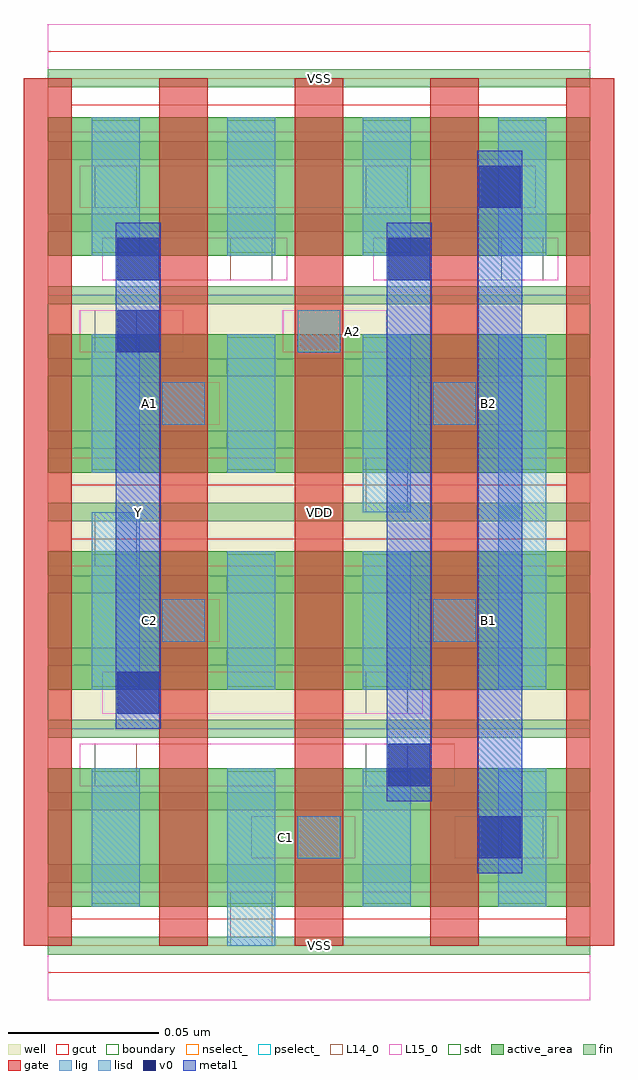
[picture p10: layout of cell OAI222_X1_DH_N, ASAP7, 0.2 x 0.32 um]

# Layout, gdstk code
import gdstk
lib = gdstk.Library(unit=1e-6, precision=2.5e-10)
def R(c, l, rs):  # rectangles x0, y0, x1, y1
    for r in rs: c.add(gdstk.rectangle(r[:2], r[2:], *l))
def A(c, l, x, y, w, h, nx, ny, dx, dy):  # array of equal rectangles
    R(c, l, [(x+i*dx, y+j*dy, x+i*dx+w, y+j*dy+h) for i in range(nx) for j in range(ny)])
def P(c, l, *ps):  # polygons
    for p in ps: c.add(gdstk.Polygon(p, *l))
well = (1, 0)
fin = (2, 0)
gate = (7, 0)
gcut = (10, 0)
active_area = (11, 0)
nselect_ = (12, 0)
pselect_ = (13, 0)
L14_0 = (14, 0)
L15_0 = (15, 0)
lig = (16, 0)
lisd = (17, 0)
v0 = (18, 0)
metal1 = (19, 0)
sdt = (88, 0)
boundary = (100, 0)

oai222_x1_dh_n = lib.new_cell('OAI222_X1_DH_N')
R(oai222_x1_dh_n, well, [(0,0.072,0.18,0.144), (0,0.144,0.18,0.216)])
A(oai222_x1_dh_n, fin, 0, -0.003, 0.18, 0.006, 1, 13, 0, 0.024)
A(oai222_x1_dh_n, gate, -0.008, 0, 0.016, 0.288, 5, 1, 0.045, 0)
P(oai222_x1_dh_n, gcut, [(0,-0.009),(0,0),(-0.008,0),(-0.008,0.135),(0.008,0.135),(0.008,0.009),(0.172,0.009),(0.172,0.135),(-0.008,0.135),(-0.008,0.279),(0.008,0.279),(0.008,0.153),(0.172,0.153),(0.172,0.279),(-0.008,0.279),(-0.008,0.288),(0,0.288),(0,0.297),(0.18,0.297),(0.18,0.288),(0.188,0.288),(0.188,0),(0.18,0),(0.18,-0.009)])
A(oai222_x1_dh_n, active_area, 0, 0.013, 0.18, 0.046, 1, 4, 0, 0.072)
R(oai222_x1_dh_n, nselect_, [(0,0,0.18,0.072), (0,0.216,0.18,0.288)])
R(oai222_x1_dh_n, pselect_, [(0,0.072,0.18,0.144), (0,0.144,0.18,0.216)])
R(oai222_x1_dh_n, L14_0, [(0.0605,0,0.0745,0.018), (0.083,0.029,0.097,0.043), (0.1505,0.029,0.1645,0.043), (0.0155,0.053,0.0295,0.067), (0.1055,0.053,0.1195,0.067), (0.1055,0.077,0.1195,0.091), (0.038,0.101,0.052,0.115), (0.128,0.101,0.142,0.115), (0.0155,0.126,0.0295,0.144), (0.1055,0.144,0.1195,0.162), (0.038,0.173,0.052,0.187), (0.128,0.173,0.142,0.187), (0.0155,0.197,0.0295,0.211), (0.083,0.197,0.097,0.211), (0.0605,0.221,0.0745,0.235), (0.1505,0.221,0.1645,0.235), (0.0155,0.245,0.0295,0.259), (0.1055,0.245,0.1195,0.259)])
A(oai222_x1_dh_n, L15_0, 0, -0.018, 0.18, 0.036, 1, 3, 0, 0.144)
R(oai222_x1_dh_n, L15_0, [(0.0675,0.029,0.102,0.043), (0.135,0.029,0.1695,0.043), (0.0105,0.053,0.135,0.067), (0.018,0.077,0.1245,0.091), (0.0225,0.101,0.057,0.115), (0.123,0.101,0.1575,0.115), (0.0225,0.173,0.057,0.187), (0.123,0.173,0.1575,0.187), (0.0105,0.197,0.045,0.211), (0.078,0.197,0.1125,0.211), (0.018,0.221,0.0795,0.235), (0.108,0.221,0.1695,0.235), (0.0105,0.245,0.162,0.259)])
R(oai222_x1_dh_n, lig, [(0.083,0.029,0.097,0.043), (0.038,0.101,0.052,0.115), (0.128,0.101,0.142,0.115), (0.038,0.173,0.052,0.187), (0.128,0.173,0.142,0.187), (0.083,0.197,0.097,0.211)])
A(oai222_x1_dh_n, lisd, 0.0145, 0.229, 0.016, 0.046, 4, 1, 0.045, 0)
R(oai222_x1_dh_n, lisd, [(0.0595,0,0.0755,0.059), (0.0145,0.013,0.0305,0.059), (0.1045,0.013,0.1205,0.059), (0.1495,0.013,0.1655,0.059), (0.0145,0.085,0.0305,0.144), (0.0595,0.085,0.0755,0.131), (0.1045,0.085,0.1205,0.131), (0.1495,0.085,0.1655,0.203), (0.1045,0.144,0.1205,0.203), (0.0145,0.157,0.0305,0.203), (0.0595,0.157,0.0755,0.203)])
R(oai222_x1_dh_n, v0, [(0.143,0.029,0.157,0.043), (0.113,0.053,0.127,0.067), (0.023,0.077,0.037,0.091), (0.023,0.197,0.037,0.211), (0.023,0.221,0.037,0.235), (0.113,0.221,0.127,0.235), (0.143,0.245,0.157,0.259)])
R(oai222_x1_dh_n, metal1, [(0.1425,0.024,0.1575,0.264), (0.1125,0.048,0.1275,0.24), (0.0225,0.072,0.0375,0.24)])
A(oai222_x1_dh_n, sdt, 0.0145, 0.014, 0.016, 0.044, 4, 4, 0.045, 0.072)
R(oai222_x1_dh_n, boundary, [(0,0,0.18,0.288)])
oai222_x1_dh_n.add(gdstk.Label('VSS', (0.09,0), layer=15, texttype=251))
oai222_x1_dh_n.add(gdstk.Label('VDD', (0.09,0.144), layer=15, texttype=251))
oai222_x1_dh_n.add(gdstk.Label('VDD', (0.09,0.144), layer=15, texttype=251))
oai222_x1_dh_n.add(gdstk.Label('VSS', (0.09,0.288), layer=15, texttype=251))
oai222_x1_dh_n.add(gdstk.Label('C2', (0.0338,0.108), layer=15, texttype=251))
oai222_x1_dh_n.add(gdstk.Label('VSS', (0.09,0), layer=15, texttype=251))
oai222_x1_dh_n.add(gdstk.Label('VDD', (0.09,0.144), layer=15, texttype=251))
oai222_x1_dh_n.add(gdstk.Label('VDD', (0.09,0.144), layer=15, texttype=251))
oai222_x1_dh_n.add(gdstk.Label('VSS', (0.09,0.288), layer=15, texttype=251))
oai222_x1_dh_n.add(gdstk.Label('C1', (0.0788,0.036), layer=15, texttype=251))
oai222_x1_dh_n.add(gdstk.Label('VSS', (0.09,0), layer=15, texttype=251))
oai222_x1_dh_n.add(gdstk.Label('VDD', (0.09,0.144), layer=15, texttype=251))
oai222_x1_dh_n.add(gdstk.Label('VDD', (0.09,0.144), layer=15, texttype=251))
oai222_x1_dh_n.add(gdstk.Label('VSS', (0.09,0.288), layer=15, texttype=251))
oai222_x1_dh_n.add(gdstk.Label('A2', (0.1013,0.204), layer=15, texttype=251))
oai222_x1_dh_n.add(gdstk.Label('VSS', (0.09,0), layer=15, texttype=251))
oai222_x1_dh_n.add(gdstk.Label('VDD', (0.09,0.144), layer=15, texttype=251))
oai222_x1_dh_n.add(gdstk.Label('VDD', (0.09,0.144), layer=15, texttype=251))
oai222_x1_dh_n.add(gdstk.Label('VSS', (0.09,0.288), layer=15, texttype=251))
oai222_x1_dh_n.add(gdstk.Label('B2', (0.1463,0.18), layer=15, texttype=251))
oai222_x1_dh_n.add(gdstk.Label('VSS', (0.09,0), layer=15, texttype=251))
oai222_x1_dh_n.add(gdstk.Label('VDD', (0.09,0.144), layer=15, texttype=251))
oai222_x1_dh_n.add(gdstk.Label('VDD', (0.09,0.144), layer=15, texttype=251))
oai222_x1_dh_n.add(gdstk.Label('VSS', (0.09,0.288), layer=15, texttype=251))
oai222_x1_dh_n.add(gdstk.Label('B1', (0.1463,0.108), layer=15, texttype=251))
oai222_x1_dh_n.add(gdstk.Label('VSS', (0.09,0), layer=15, texttype=251))
oai222_x1_dh_n.add(gdstk.Label('VDD', (0.09,0.144), layer=15, texttype=251))
oai222_x1_dh_n.add(gdstk.Label('VDD', (0.09,0.144), layer=15, texttype=251))
oai222_x1_dh_n.add(gdstk.Label('VSS', (0.09,0.288), layer=15, texttype=251))
oai222_x1_dh_n.add(gdstk.Label('A1', (0.0338,0.18), layer=15, texttype=251))
oai222_x1_dh_n.add(gdstk.Label('VSS', (0.09,0), layer=15, texttype=251))
oai222_x1_dh_n.add(gdstk.Label('VDD', (0.09,0.144), layer=15, texttype=251))
oai222_x1_dh_n.add(gdstk.Label('VDD', (0.09,0.144), layer=15, texttype=251))
oai222_x1_dh_n.add(gdstk.Label('VSS', (0.09,0.288), layer=15, texttype=251))
oai222_x1_dh_n.add(gdstk.Label('VSS', (0.09,0), layer=3, texttype=251))
oai222_x1_dh_n.add(gdstk.Label('VSS', (0.09,0.288), layer=3, texttype=251))
oai222_x1_dh_n.add(gdstk.Label('VSS', (0.09,0), layer=3, texttype=251))
oai222_x1_dh_n.add(gdstk.Label('VSS', (0.09,0.288), layer=3, texttype=251))
oai222_x1_dh_n.add(gdstk.Label('VSS', (0.09,0), layer=3, texttype=251))
oai222_x1_dh_n.add(gdstk.Label('VSS', (0.09,0.288), layer=3, texttype=251))
oai222_x1_dh_n.add(gdstk.Label('VSS', (0.09,0), layer=3, texttype=251))
oai222_x1_dh_n.add(gdstk.Label('VSS', (0.09,0.288), layer=3, texttype=251))
oai222_x1_dh_n.add(gdstk.Label('VSS', (0.09,0), layer=3, texttype=251))
oai222_x1_dh_n.add(gdstk.Label('VSS', (0.09,0.288), layer=3, texttype=251))
oai222_x1_dh_n.add(gdstk.Label('VSS', (0.09,0), layer=3, texttype=251))
oai222_x1_dh_n.add(gdstk.Label('VSS', (0.09,0.288), layer=3, texttype=251))
oai222_x1_dh_n.add(gdstk.Label('VSS', (0.09,0), layer=3, texttype=251))
oai222_x1_dh_n.add(gdstk.Label('VSS', (0.09,0.288), layer=3, texttype=251))
oai222_x1_dh_n.add(gdstk.Label('VDD', (0.09,0.144), layer=1, texttype=251))
oai222_x1_dh_n.add(gdstk.Label('VDD', (0.09,0.144), layer=1, texttype=251))
oai222_x1_dh_n.add(gdstk.Label('VDD', (0.09,0.144), layer=1, texttype=251))
oai222_x1_dh_n.add(gdstk.Label('VDD', (0.09,0.144), layer=1, texttype=251))
oai222_x1_dh_n.add(gdstk.Label('VDD', (0.09,0.144), layer=1, texttype=251))
oai222_x1_dh_n.add(gdstk.Label('VDD', (0.09,0.144), layer=1, texttype=251))
oai222_x1_dh_n.add(gdstk.Label('VDD', (0.09,0.144), layer=1, texttype=251))
oai222_x1_dh_n.add(gdstk.Label('VDD', (0.09,0.144), layer=1, texttype=251))
oai222_x1_dh_n.add(gdstk.Label('VDD', (0.09,0.144), layer=1, texttype=251))
oai222_x1_dh_n.add(gdstk.Label('VDD', (0.09,0.144), layer=1, texttype=251))
oai222_x1_dh_n.add(gdstk.Label('VDD', (0.09,0.144), layer=1, texttype=251))
oai222_x1_dh_n.add(gdstk.Label('VDD', (0.09,0.144), layer=1, texttype=251))
oai222_x1_dh_n.add(gdstk.Label('VDD', (0.09,0.144), layer=1, texttype=251))
oai222_x1_dh_n.add(gdstk.Label('VDD', (0.09,0.144), layer=1, texttype=251))
oai222_x1_dh_n.add(gdstk.Label('Y', (0.03,0.144), layer=19, texttype=251))

lib.write_gds('OAI222_X1_DH_N.gds')
